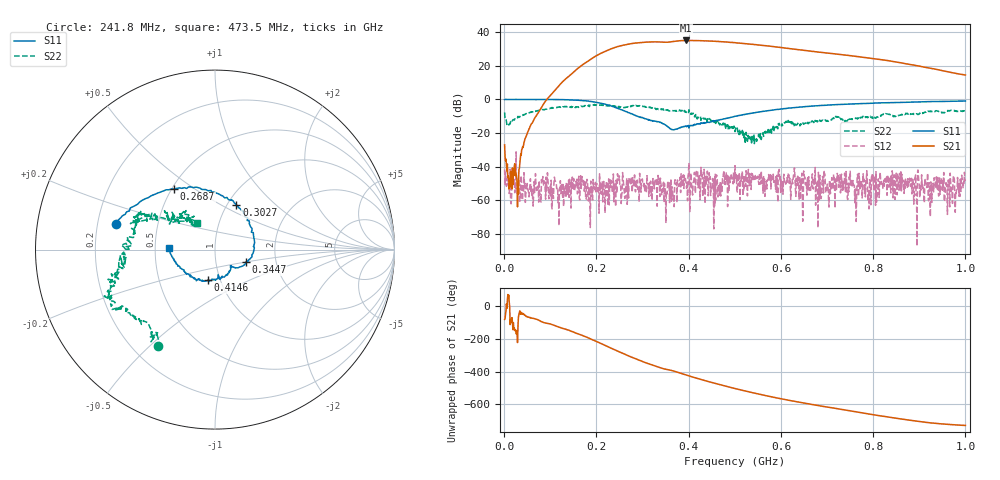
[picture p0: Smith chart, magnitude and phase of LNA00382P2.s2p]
! Created with skrf 1.9.0 (http://scikit-rf.org).
# Hz S RI R 50.0
!freq ReS11 ImS11 ReS21 ImS21 ReS12 ImS12 ReS22 ImS22
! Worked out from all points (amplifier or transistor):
!   1001 points, 1 MHz to 1 GHz, reference 50 ohm
!   highest |S21| = 35.1 dB at 394.6 MHz (marker M1)
!   |S21| within 3 dB of that: 255.7 MHz to 562.9 MHz (307.2 MHz wide, 75 % of centre)
!   unconditionally stable (mu >= 1): 236.9 MHz to 293.6 MHz; 294.1 MHz to 400.2 MHz; 400.8 MHz to end of sweep (the widest 3 of 34)
!   at 166.8 MHz: K = 1.96, MAG = 30.9 dB, |S12| = -53.1 dB
!   at 500.5 MHz: K = 1.09, MAG = 34.8 dB, |S12| = -39.4 dB
!   at 1 GHz: K = 3.54, MAG = 22.8 dB, |S12| = -47.9 dB
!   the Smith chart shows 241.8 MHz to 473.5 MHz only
!   S11 on the Smith chart (normalised r, x): 241.8 MHz: 0.28, +0.12; 268.7 MHz: 0.52, +0.42; 302.7 MHz: 1.10, +0.59; 344.7 MHz: 1.40, -0.20; 414.6 MHz: 0.87, -0.31; 473.5 MHz: 0.59, +0.01
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1000000  0.9897 0.0163  0.00642 -0.044  -0.00439 0.00699  0.275 0.3063
1.08892e8  0.5115 -0.8532  -0.8433 -1.579  -0.00186 -0.00449  0.4251 -0.3617
1.67833e8  -0.2493 -0.8956  -10.25 -0.4775  0.00309 0.00033  0.0488 -0.6278
2.08792e8  -0.6725 -0.3933  -15.94 17.04  -0.00305 -0.00135  -0.2002 -0.653
2.41759e8  -0.5531 0.1408  -0.3953 35.89  -6.81e-05 -0.000641  -0.3172 -0.5363
2.68732e8  -0.2277 0.3364  23.82 37.01  0.00254 -0.00274  -0.4987 -0.3489
3.02698e8  0.1191 0.2476  47.3 16.17  -0.00252 -0.000163  -0.5885 -0.2003
3.34666e8  0.2155 -0.00953  50.29 -11.9  0.000283 0.00288  -0.5002 -0.0467
3.44656e8  0.1718 -0.0696  46.93 -18.91  0.000797 -0.00283  -0.5228 0.0239
3.72628e8  0.0895 -0.0966  41.68 -35.54  0.000809 0.00308  -0.4423 0.1662
3.94606e8  0.0437 -0.1526  27.83 -49.85  0.00243 0.00189  -0.378 0.1865
4.14586e8  -0.041 -0.1704  11.77 -55.38  0.000809 0.00138  -0.2596 0.1651
4.41559e8  -0.1632 -0.128  -9.43 -54.64  0.00282 0.00251  -0.1964 0.1806
4.73527e8  -0.2583 0.00695  -29.27 -43.26  0.00497 0.000997  -0.1023 0.1456
5.005e8  -0.2771 0.157  -39.32 -29.4  0.0101 0.00348  -0.0823 0.0732
5.4046e8  -0.187 0.3543  -42.7 -7.789  0.00342 0.00368  -0.084 0.00112
5.88412e8  0.0249 0.4952  -34.81 12.11  0.00052 -0.00206  -0.1338 -0.0628
6.67333e8  0.4009 0.4917  -13.21 23.5  -0.000684 -0.00529  -0.2235 -0.047
7.55245e8  0.6839 0.272  3.984 19.28  0.00105 0.00217  -0.2647 0.0299
8.34166e8  0.7977 0.0141  10.44 9.598  -0.0026 -0.00163  -0.3571 0.00175
9.09091e8  0.8156 -0.2481  9.063 1.933  -0.0023 -0.000794  -0.3554 0.1566
1e9  0.7265 -0.5275  5.305 -0.7693  -0.00391 -0.000946  -0.3264 0.3201
